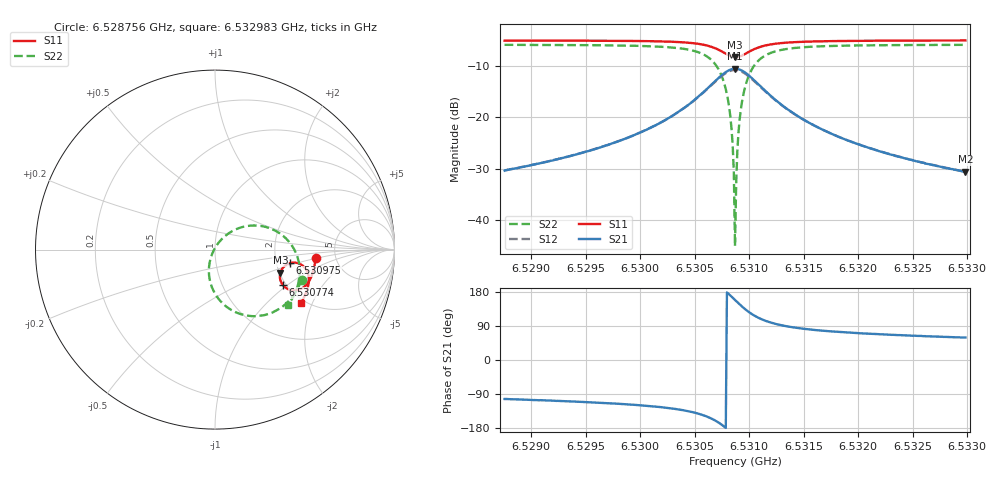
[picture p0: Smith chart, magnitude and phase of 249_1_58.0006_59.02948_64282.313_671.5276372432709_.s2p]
#  HZ  S  RI  R  50.00
! Rohde & Schwarz Vector Network Analyzer
! Rohde-Schwarz,ZNB20-2Port,1311601062101988,3.16
! Created: UTC 3/21/2024, 1:01:23 AM
! freq[Hz]  re:S11  im:S11  re:S21  im:S21  re:S12  im:S12  re:S22  im:S22
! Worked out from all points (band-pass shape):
!   401 points, 6.528756 GHz to 6.532983 GHz, reference 50 ohm
!   highest |S21| = -10.49 dB at 6.530869 GHz (marker M1); lowest = -30.6 dB at 6.532983 GHz (marker M2)
!   |S21| within 3 dB of the highest: 6.530659 GHz to 6.531082 GHz (423.1 kHz wide, 0.00648 % of centre)
!   lowest |S11| = -8.3 dB at 6.530869 GHz (marker M3), VSWR 2.26, Z = 101 - j30.5 ohm
!   |S11| at or under -10 dB: nowhere
!   |S22| runs from -45.2 to -5.8 dB; largest |S21 - S12| = 0.012
!   S11 on the Smith chart (normalised r, x): 6.528756 GHz: 3.50, -0.48; 6.530774 GHz: 1.92, -0.92; 6.530975 GHz: 2.38, -0.44; 6.532983 GHz: 1.88, -1.65
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6.5287557e9  0.5602 -0.0472  -0.00675 -0.0294  -0.00746 -0.0295  0.4834 -0.1671
6.5294638e9  0.5511 -0.1059  -0.0158 -0.0421  -0.0167 -0.0417  0.4526 -0.2313
6.5301719e9  0.5243 -0.1759  -0.0485 -0.0723  -0.0505 -0.0711  0.3725 -0.3206
6.5305946e9  0.4554 -0.2264  -0.1536 -0.0981  -0.156 -0.0918  0.1708 -0.3665
6.5307003e9  0.4116 -0.2221  -0.2214 -0.0726  -0.2209 -0.0633  0.0564 -0.3121
6.5307743e9  0.377 -0.196  -0.2717 -0.0156  -0.2662 -0.00601  -0.018 -0.2075
6.530806e9  0.3664 -0.1765  -0.2849 0.0219  -0.2773 0.0305  -0.0331 -0.1428
6.5308272e9  0.3622 -0.1612  -0.2883 0.0504  -0.2793 0.0576  -0.0332 -0.0954
6.5308377e9  0.3616 -0.153  -0.288 0.0652  -0.2783 0.0716  -0.0298 -0.0713
6.5308483e9  0.3617 -0.1446  -0.2862 0.0801  -0.2762 0.0857  -0.0241 -0.0473
6.5308589e9  0.3626 -0.1365  -0.2829 0.095  -0.2725 0.0995  -0.0159 -0.0237
6.5308694e9  0.3645 -0.1283  -0.2781 0.1093  -0.2675 0.1131  -0.00546 -0.000877
6.53088e9  0.3672 -0.1204  -0.2718 0.1235  -0.2612 0.1261  0.0072 0.0208
6.5308906e9  0.3707 -0.1128  -0.2643 0.1365  -0.2538 0.1383  0.022 0.0408
6.5309011e9  0.3751 -0.1057  -0.2557 0.1488  -0.2453 0.1498  0.0385 0.0593
6.5309223e9  0.3856 -0.0935  -0.2353 0.17  -0.2257 0.1694  0.0754 0.0904
6.5309751e9  0.4176 -0.0751  -0.1766 0.2016  -0.1698 0.1988  0.1779 0.1314
6.5310491e9  0.4596 -0.075  -0.1029 0.2038  -0.0996 0.201  0.301 0.1206
6.5311548e9  0.4964 -0.0965  -0.0397 0.174  -0.038 0.1722  0.4028 0.0545
6.5315775e9  0.5227 -0.1754  0.0148 0.084  0.016 0.0838  0.4719 -0.1338
6.5322856e9  0.5043 -0.2473  0.0171 0.0403  0.0179 0.04  0.4429 -0.2483
6.5329832e9  0.478 -0.2997  0.015 0.0253  0.0156 0.025  0.4074 -0.3083
